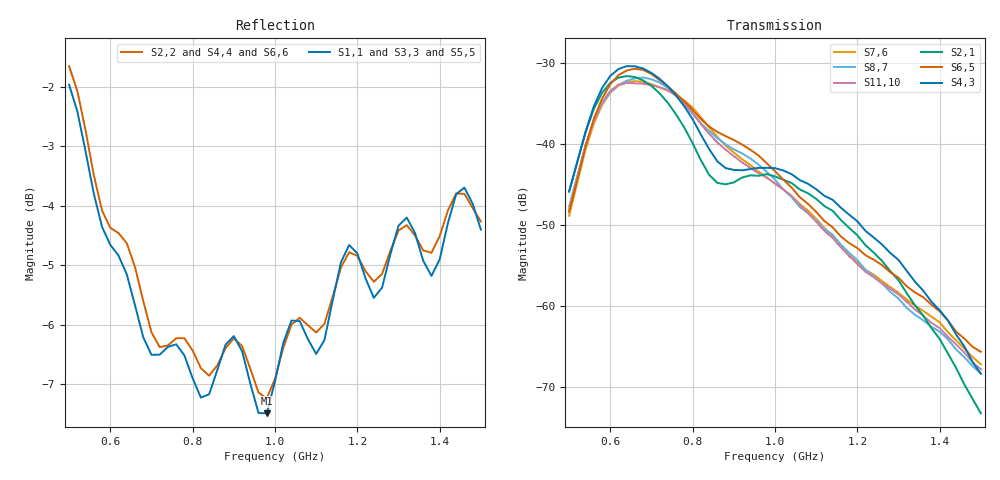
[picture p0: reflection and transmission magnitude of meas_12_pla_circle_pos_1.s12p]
! Converted from meas_12_pla_circle_pos_1.mat
! MATLAB 5.0 MAT-file, Platform: PCWIN64, Created on: Sat Nov 21 15:21:50 2026
! Ports 1-12 = antennas 1-12; IFBW=1000 Hz, power=0 dBm, doCalibration flag=0
! SW_A serial 12410080206: antennas 1 3 5 7 9 11
! SW_B serial 12410080235: antennas 2 4 6 8 10 12
! WARNING: Sij (i!=j) between two odd or two even ports was NOT MEASURED (NaN in source).
! Those entries are written as 0 0 placeholders. Do not treat them as data.
! Reference impedance 50 ohm is assumed (not stored in source).
# Hz S RI R 50
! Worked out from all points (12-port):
!   51 points, 500 MHz to 1.5 GHz, reference 50 ohm
!   strongest paths, dB at 500 MHz, 740 MHz, 1 GHz, 1.26 GHz, 1.5 GHz:
!     S4,3: -45.9, -32.9, -43.0, -52.4, -68.4
!     S6,5: -48.4, -32.9, -43.4, -55.0, -65.7
!     S2,1: -45.9, -35.0, -44.0, -54.5, -73.3
!     S11,10: -48.1, -33.4, -44.9, -57.2, -67.8
!     S8,7: -47.7, -33.1, -44.4, -57.3, -68.4
!     S7,6: -48.9, -33.5, -44.9, -57.0, -67.2
!   lowest |S11| = -7.5 dB at 980 MHz (marker M1), VSWR 2.46, Z = 26.9 - j25.2 ohm
!   |S11| at or under -10 dB: nowhere
